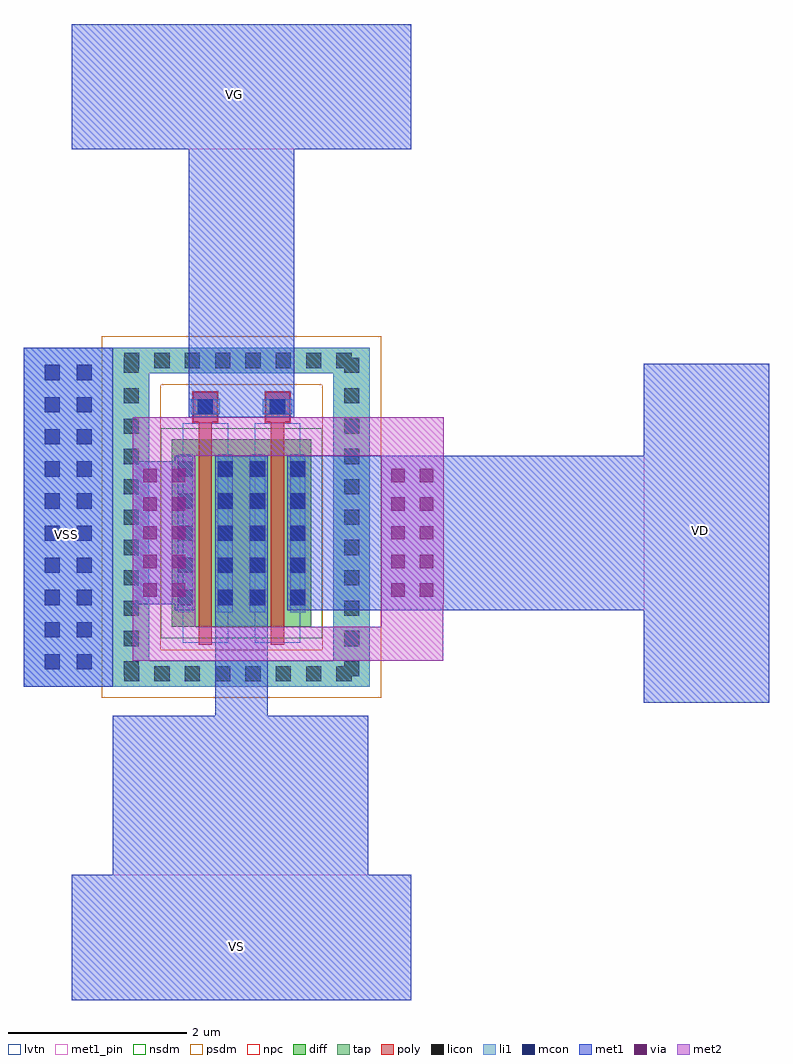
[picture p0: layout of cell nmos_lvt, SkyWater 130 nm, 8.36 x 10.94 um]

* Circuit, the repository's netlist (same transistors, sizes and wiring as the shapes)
** sch_path: /foss/designs/RO_Aging_UNICASS/MOS/nmos_lvt.sch
.subckt nmos_lvt VS VG VD VSS
*.PININFO VS:B VG:B VD:B VSS:B
M1 VD VG VS VSS sky130_fd_pr__nfet_01v8_lvt L=0.15 W=2.1 nf=1 ad='int((nf+1)/2) * W/nf * 0.29' as='int((nf+2)/2) * W/nf * 0.29' pd='2*int((nf+1)/2) * (W/nf + 0.29)'
+ ps='2*int((nf+2)/2) * (W/nf + 0.29)' nrd='0.29 / W' nrs='0.29 / W' sa=0 sb=0 sd=0 mult=2 m=2
.ends
.end

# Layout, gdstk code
import gdstk
lib = gdstk.Library(unit=1e-6, precision=1e-09)
def R(c, l, rs):  # rectangles x0, y0, x1, y1
    for r in rs: c.add(gdstk.rectangle(r[:2], r[2:], *l))
def A(c, l, x, y, w, h, nx, ny, dx, dy):  # array of equal rectangles
    R(c, l, [(x+i*dx, y+j*dy, x+i*dx+w, y+j*dy+h) for i in range(nx) for j in range(ny)])
diff = (65, 20)
tap = (65, 44)
poly = (66, 20)
licon = (66, 44)
li1 = (67, 20)
mcon = (67, 44)
met1_pin = (68, 16)
met1 = (68, 20)
via = (68, 44)
met2 = (69, 20)
nsdm = (93, 44)
psdm = (94, 20)
npc = (95, 20)
lvtn = (125, 44)

nfet = lib.new_cell('nfet')
R(nfet, diff, [(0,0,0.75,2.1)])
R(nfet, poly, [(0.3,-0.2,0.45,2.3), (0.24,2.3,0.51,2.63)])
A(nfet, licon, 0.065, 0.245, 0.17, 0.17, 1, 5, 0, 0.36)
A(nfet, licon, 0.515, 0.245, 0.17, 0.17, 1, 5, 0, 0.36)
R(nfet, licon, [(0.29,2.38,0.46,2.55)])
R(nfet, li1, [(0.065,0.165,0.235,1.935), (0.515,0.165,0.685,1.935), (0.21,2.38,0.54,2.55)])
A(nfet, mcon, 0.065, 0.245, 0.17, 0.17, 1, 5, 0, 0.36)
A(nfet, mcon, 0.515, 0.245, 0.17, 0.17, 1, 5, 0, 0.36)
R(nfet, mcon, [(0.29,2.38,0.46,2.55)])
R(nfet, met1, [(0.035,0.185,0.265,1.915), (0.485,0.185,0.715,1.915), (0.19,2.35,0.56,2.58)])
R(nfet, nsdm, [(-0.125,-0.125,0.875,2.225)])
R(nfet, npc, [(0.23,2.29,0.52,2.64)])
R(nfet, lvtn, [(0.12,-0.18,0.63,2.28)])

vias_gen_1 = lib.new_cell('vias_gen$1')
R(vias_gen_1, tap, [(0,0,0.41,3.8)])
A(vias_gen_1, licon, 0.12, 0.115, 0.17, 0.17, 1, 11, 0, 0.34)
R(vias_gen_1, li1, [(0,0,0.41,3.8)])
R(vias_gen_1, psdm, [(-0.125,-0.125,0.535,3.925)])

vias_gen_2 = lib.new_cell('vias_gen$2')
R(vias_gen_2, tap, [(0,0,2.8,0.29)])
A(vias_gen_2, licon, 0.125, 0.06, 0.17, 0.17, 8, 1, 0.34, 0)
R(vias_gen_2, li1, [(0,0,2.8,0.29)])
R(vias_gen_2, psdm, [(-0.125,-0.125,2.925,0.415)])

vias_gen_4 = lib.new_cell('vias_gen$4')
R(vias_gen_4, met1, [(0,0,0.7,1.6)])
A(vias_gen_4, via, 0.115, 0.085, 0.15, 0.15, 1, 5, 0, 0.32)
A(vias_gen_4, via, 0.435, 0.085, 0.15, 0.15, 1, 5, 0, 0.32)
R(vias_gen_4, met2, [(0,0,0.7,1.6)])

vias_gen = lib.new_cell('vias_gen')
R(vias_gen, li1, [(0,0,1,3.8)])
A(vias_gen, mcon, 0.235, 0.195, 0.17, 0.17, 1, 10, 0, 0.36)
A(vias_gen, mcon, 0.595, 0.195, 0.17, 0.17, 1, 10, 0, 0.36)
R(vias_gen, met1, [(0,0,1,3.8)])

nmos_lvt = lib.new_cell('nmos_lvt')
R(nmos_lvt, diff, [(0.585,0.12,0.645,2.22)])
R(nmos_lvt, met1_pin, [(-1.285,-4.06,2.515,-2.655), (5.125,-0.73,6.53,3.07), (-1.825,-0.55,-0.825,3.25), (-1.285,5.47,2.515,6.875)])
R(nmos_lvt, met1, [(-1.285,-4.06,2.515,-2.655), (-0.825,-2.685,2.035,-0.875), (0.32,-2.655,0.91,0.345), (5.125,-0.73,6.53,3.07), (0.55,0.305,0.68,2.035), (1.13,0.305,5.13,2.035), (0.025,2.47,1.205,5.47), (-1.285,5.47,2.515,6.875)])
R(nmos_lvt, met2, [(-0.6,-0.26,0.1,-0.135), (-0.6,-0.26,2.585,0.12), (2.18,-0.26,2.875,1.975), (-0.6,-0.135,0.1,0.375), (2.18,1.965,2.88,2.04), (-0.6,1.975,0.1,2.47), (-0.6,2.035,2.88,2.47)])
nmos_lvt.add(gdstk.Reference(nfet, (-0.165,0.12)))
nmos_lvt.add(gdstk.Reference(nfet, (0.645,0.12)))
nmos_lvt.add(gdstk.Reference(vias_gen_1, (-0.825,-0.55)))
nmos_lvt.add(gdstk.Reference(vias_gen_1, (1.645,-0.55)))
nmos_lvt.add(gdstk.Reference(vias_gen_2, (-0.825,-0.55)))
nmos_lvt.add(gdstk.Reference(vias_gen_2, (-0.825,2.96)))
nmos_lvt.add(gdstk.Reference(vias_gen_4, (2.18,0.375)))
nmos_lvt.add(gdstk.Reference(vias_gen_4, (-0.6,0.375)))
nmos_lvt.add(gdstk.Reference(vias_gen, (-1.825,-0.55)))
nmos_lvt.add(gdstk.Label('VS', (0.555,-3.455), layer=68, texttype=5))
nmos_lvt.add(gdstk.Label('VSS', (-1.34,1.155), layer=68, texttype=5))
nmos_lvt.add(gdstk.Label('VG', (0.54,6.09), layer=68, texttype=5))
nmos_lvt.add(gdstk.Label('VD', (5.755,1.2), layer=68, texttype=5))

lib.write_gds('nmos_lvt.gds')
